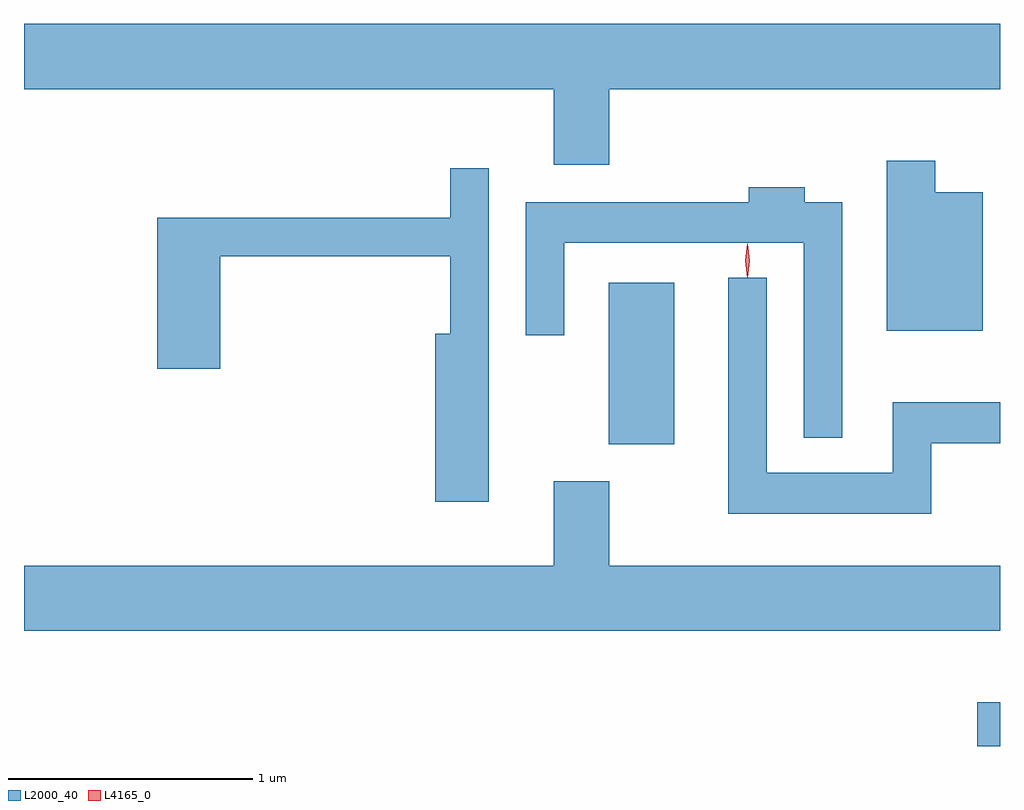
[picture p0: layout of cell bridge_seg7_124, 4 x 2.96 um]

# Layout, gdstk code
import gdstk
lib = gdstk.Library(unit=1e-6, precision=1e-09)
def R(c, l, rs):  # rectangles x0, y0, x1, y1
    for r in rs: c.add(gdstk.rectangle(r[:2], r[2:], *l))
def P(c, l, *ps):  # polygons
    for p in ps: c.add(gdstk.Polygon(p, *l))
L2000_40 = (2000, 40)
L4165_0 = (4165, 0)

bridge_seg7_124 = lib.new_cell('bridge_seg7_124')
R(bridge_seg7_124, L2000_40, [(1526.576,1802.644,1526.67,1802.824), (1525.066,1803.881,1525.334,1804.544)])
P(bridge_seg7_124, L2000_40, [(1525.069,1805.336),(1526.67,1805.336),(1526.67,1805.604),(1522.67,1805.604),(1522.67,1805.336),(1524.841,1805.336),(1524.841,1805.026),(1525.069,1805.026)],
  [(1526.599,1804.914),(1526.404,1804.914),(1526.404,1805.044),(1526.206,1805.044),(1526.206,1804.346),(1526.599,1804.346)],
  [(1524.574,1805.013),(1524.416,1805.013),(1524.416,1804.809),(1523.216,1804.809),(1523.216,1804.191),(1523.474,1804.191),(1523.474,1804.651),(1524.416,1804.651),(1524.416,1804.334),(1524.356,1804.334),(1524.356,1803.646),(1524.574,1803.646)],
  [(1526.024,1804.874),(1525.869,1804.874),(1525.869,1804.934),(1525.641,1804.934),(1525.641,1804.874),(1524.726,1804.874),(1524.726,1804.328),(1524.884,1804.328),(1524.884,1804.706),(1525.866,1804.706),(1525.866,1803.908),(1526.024,1803.908)],
  [(1526.389,1803.886),(1526.67,1803.886),(1526.67,1804.054),(1526.231,1804.054),(1526.231,1803.764),(1525.714,1803.764),(1525.714,1804.563),(1525.556,1804.563),(1525.556,1803.596),(1526.389,1803.596)],
  [(1526.67,1803.384),(1525.069,1803.384),(1525.069,1803.729),(1524.841,1803.729),(1524.841,1803.384),(1522.67,1803.384),(1522.67,1803.116),(1526.67,1803.116)])
P(bridge_seg7_124, L4165_0, [(1525.635,1804.563),(1525.634,1804.564),(1525.625,1804.633),(1525.634,1804.702),(1525.635,1804.703),(1525.636,1804.702),(1525.645,1804.633),(1525.636,1804.564)],
  [(1525.634,1804.567),(1525.625,1804.634),(1525.634,1804.7),(1525.635,1804.7),(1525.636,1804.7),(1525.645,1804.634),(1525.636,1804.567),(1525.635,1804.567)])

lib.write_gds('bridge_seg7_124.gds')
